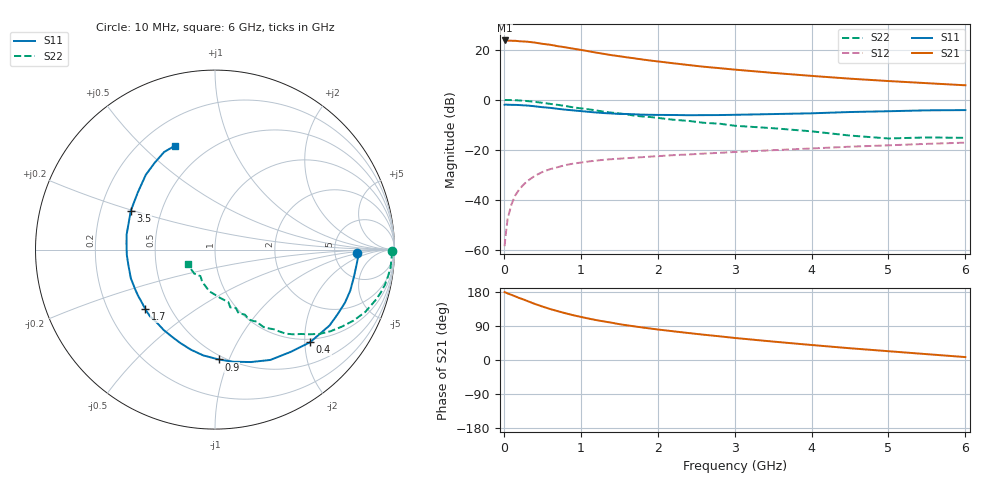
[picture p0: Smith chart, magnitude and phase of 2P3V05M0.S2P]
! SIEMENS Small Signal Semiconductors
! BFP420
! Si NPN RF SIEGET Grounded Emitter Transistor in SOT343
! VCE = 3 V  IC = 5 mA
! Common Emitter S-Parameters:  January  1996
# GHz  S  MA  R  50
!  f  S11  S21  S12  S22
! GHz  MAG  ANG  MAG  ANG  MAG  ANG  MAG  ANG
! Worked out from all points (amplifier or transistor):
!   36 points, 10 MHz to 6 GHz, reference 50 ohm
!   highest |S21| = 23.6 dB at 10 MHz (marker M1)
!   |S21| within 3 dB of that: start of sweep to 848.1 MHz
!   unconditionally stable (mu >= 1): 3.191 GHz to end of sweep
!   at 250 MHz: K = 0.08, MSG = 28.6 dB, |S12| = -34.1 dB
!   at 1.4 GHz: K = 0.54, MSG = 20.7 dB, |S12| = -23.7 dB
!   at 6 GHz: K = 1.19, MAG = 8.8 dB, |S12| = -17.1 dB
!   lowest NFmin = 0.90 dB at 900 MHz
!   S11 on the Smith chart (normalised r, x): 10 MHz: 8.60, -0.77; 400 MHz: 0.93, -2.12; 900 MHz: 0.47, -0.92; 1.7 GHz: 0.36, -0.33; 3.5 GHz: 0.33, +0.20; 6 GHz: 0.34, +0.63
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0.01  0.7931 -1.2  15.17 179.0  0.0012 70.3  0.9878 -0.6
0.02  0.7993 -2.5  15 178.4  0.0018 79.3  0.986 -1.1
0.05  0.7939 -5.6  15.04 175.5  0.0043 80.2  0.985 -2.9
0.15  0.7875 -16.9  14.93 167.8  0.0125 79.2  0.9753 -8.8
0.3  0.7656 -33.5  14.35 156.1  0.0234 73.0  0.9398 -17.2
0.4  0.7399 -44.2  13.78 148.2  0.0302 68.1  0.9066 -22.5
0.5  0.7091 -53.5  13.01 141.2  0.0361 63.7  0.8668 -27.2
0.6  0.6877 -63.4  12.46 134.6  0.0411 59.5  0.8266 -31.3
0.8  0.6327 -80.9  11.06 123.4  0.0497 53.2  0.7482 -38.9
0.9  0.6124 -88.1  10.41 118.3  0.053 50.7  0.7052 -42.0
1.1  0.5734 -103.6  9.249 109.4  0.0586 45.6  0.6434 -47.2
1.2  0.5551 -110.4  8.687 105.3  0.061 44.2  0.6112 -50.0
1.4  0.5314 -122.6  7.731 98.4  0.0651 41.2  0.5521 -53.5
1.5  0.5206 -128.1  7.362 94.7  0.0667 39.9  0.5327 -55.6
1.7  0.5109 -139.4  6.665 88.7  0.0699 38.5  0.4798 -59.3
1.9  0.4998 -148.9  6.049 83.2  0.0733 37.0  0.4521 -61.7
2.2  0.4954 -161.2  5.332 75.8  0.0783 35.4  0.3988 -65.3
2.8  0.4939 176.5  4.257 62.6  0.0871 32.9  0.3329 -75.2
3.5  0.5167 155.2  3.423 48.6  0.0985 29.3  0.2699 -84.1
4.5  0.5676 132.8  2.625 31.0  0.1156 24.7  0.1925 -111.8
5.5  0.6134 117.5  2.134 15.4  0.1317 19.1  0.1768 -130.8
6  0.6203 110.9  1.938 7.7  0.1391 15.6  0.1733 -151.5
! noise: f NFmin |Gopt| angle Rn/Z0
0.9  0.9  0.28  41  0.17
1.8  1.05  0.2  82  0.13
2.4  1.25  0.2  124  0.11
3  1.38  0.22  -175  0.1
4  1.55  0.33  -157  0.11
5  1.75  0.45  -142  0.1
6  2.2  0.53  -123  0.3
